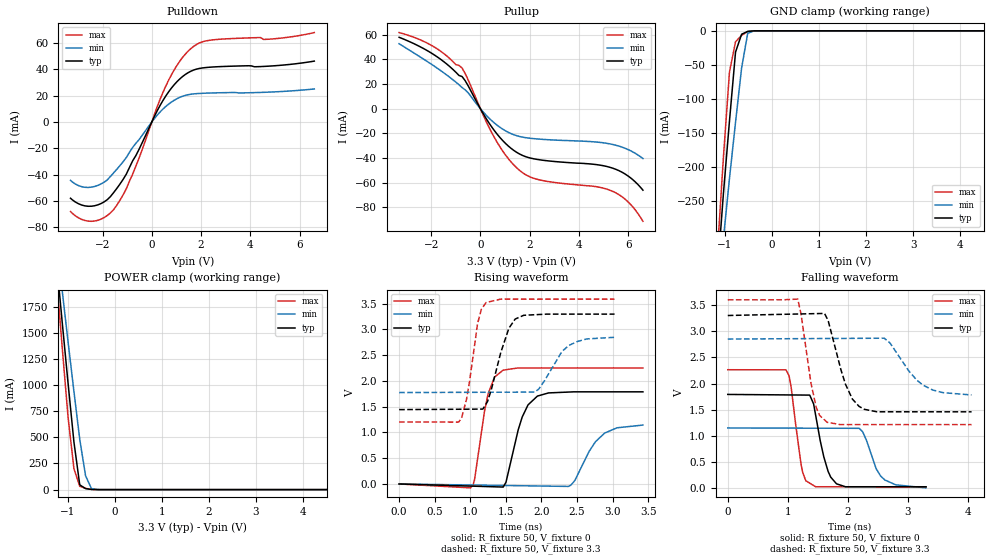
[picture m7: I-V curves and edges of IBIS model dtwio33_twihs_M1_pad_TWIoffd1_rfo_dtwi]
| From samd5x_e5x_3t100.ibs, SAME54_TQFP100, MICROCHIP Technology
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|   MODEL : dtwio33_twihs_M1_pad_TWIoffd1_rfo_dtwi
[Model] dtwio33_twihs_M1_pad_TWIoffd1_rfo_dtwi
Model_type I/O
Vinl  =  1.08
Vinh  =  2.52
Vmeas =  1.800
Vref  =  1.800
Rref  =  0
| Capacitance   typ   min   max
C_comp   2.784873902828523e-12   2.747149697823698e-12   2.829214035416891e-12
[Model Spec]
| Subparameter   typ   min   max
Vinl   0.99   0.855   1.08
Vinh   2.31   1.995   2.52
Vmeas   1.65   1.425   1.8
Vref   1.65   1.425   1.8
| Variables   typ   min   max
[GND Clamp Reference]   0   0   0
[POWER Clamp Reference]   3.3   2.85   3.6
[Pulldown Reference]   0   0   0
[Pullup Reference]   3.3   2.85   3.6
[Temperature Range]   25   125   -40
[Voltage Range]   3.3   2.85   3.6
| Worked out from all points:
|   slope of the pulldown table from 0 to 0.495 V, typ, clamps not added: 28.2 ohm
|   slope of the pullup table from 0 to 0.495 V, typ, clamps not added: 31.4 ohm
|   GND clamp passes 1 mA (typ) near -0.52 V on its own axis
|   POWER clamp passes 1 mA (typ) near -0.45 V on its own axis
|   falling waveform, R_fixture 50, V_fixture 0: 20-80 % time 199ps typ, 237ps min, 150ps max; typ from 1.79 V to 0.028 V
|   falling waveform, R_fixture 50, V_fixture 3.3: 20-80 % time 292ps typ, 441ps min, 200ps max; typ from 3.3 V to 1.46 V
|   rising waveform, R_fixture 50, V_fixture 0: 20-80 % time 219ps typ, 306ps min, 166ps max; typ from 0 V to 1.79 V
|   rising waveform, R_fixture 50, V_fixture 3.3: 20-80 % time 227ps typ, 303ps min, 151ps max; typ from 1.44 V to 3.3 V
[GND Clamp]
| Voltage   I(typ)   I(min)   I(max)
-3.3V     -2.811A    -2.445A    -3.176A
-1.164V   -360.2mA   -405.6mA   -328.3mA
-1.034V   -240.3mA   -306.5mA   -187.3mA
-905.2mV  -133.1mA   -217.4mA   -60.91mA
-775.9mV  -31.3mA    -134.4mA   -16.16mA
-646.6mV  -5.011mA   -54.58mA   -6.682mA
-517.2mV  -877.7uA   -3.713mA   -1.027mA
-387.9mV  -28.27uA   -139.7uA   -15.46uA
-258.6mV  -322.1nA   -3.949uA   -86.04nA
6.6V      0A         0A         0A
[POWER Clamp]
| Voltage   I(typ)   I(min)   I(max)
-3.3V     12.4A      10.96A     13.78A
-1.241V   2.197A     2.4A       2.047A
-1.117V   1.601A     1.903A     1.361A
-993.1mV  1.019A     1.416A     693.9mA
-869mV    458.6mA    942.1mA    202.4mA
-744.8mV  45.82mA    481.5mA    31.67mA
-620.7mV  9.704mA    132.6mA    12mA
-496.6mV  1.64mA     10.16mA    2.55mA
-372.4mV  58.76uA    488.7uA    132.1uA
6.6V      0A         0A         0A
[Pulldown]
| Voltage   I(typ)   I(min)   I(max)
-3.3V     -57.9mA    -44.32mA   -68.01mA
-2.457V   -63.99mA   -49.51mA   -75.44mA
-1.94V    -60.73mA   -45.8mA    -72.67mA
-1.552V   -53.69mA   -38.71mA   -66.65mA
-775.9mV  -29.49mA   -19.29mA   -39.56mA
227.6mV   8.78mA     5.36mA     11.99mA
682.8mV   22.9mA     13.59mA    31.75mA
1.138V    32.75mA    18.75mA    46.25mA
1.707V    39.54mA    21.39mA    57.55mA
2.503V    41.83mA    22.11mA    62.47mA
4.79V     42.5mA     22.74mA    62.97mA
6.6V      46.28mA    25.11mA    67.97mA
[Pullup]
| Voltage   I(typ)   I(min)   I(max)
-3.3V     57.95mA    52.72mA    61.79mA
-1.986V   45.08mA    36.04mA    51.38mA
-744.8mV  26.11mA    17.19mA    33.05mA
113.8mV   -3.999mA   -2.656mA   -5.168mA
569mV     -17.82mA   -11.63mA   -23.43mA
1.024V    -28.27mA   -18.02mA   -37.7mA
1.593V    -36.8mA    -22.56mA   -50.11mA
2.39V     -41.42mA   -24.68mA   -57.71mA
4.722V    -45.41mA   -27.08mA   -63.34mA
5.369V    -48.24mA   -29.01mA   -67.05mA
6.016V    -54.87mA   -33.33mA   -75.96mA
6.6V      -66.14mA   -40.41mA   -91.38mA
[Ramp]
dV/dt_r   1.07514/0.219711n  0.690632/0.309737n  1.35815/0.168023n
dV/dt_f   1.11378/0.295995n  0.64508/0.445738n  1.43785/0.201052n
R_load = 50
[Falling Waveform]
R_fixture = 50
V_fixture = 0
V_fixture_min = 0
V_fixture_max = 0
| Time   V(typ)   V(min)   V(max)
0s        1.792V     1.151V     2.264V
967.9ps   1.783V     1.148V     2.262V
1.055ns   1.782V     1.148V     1.931V
1.25ns    1.78V      1.147V     291.5mV
1.462ns   1.399V     1.147V     27.91mV
1.669ns   324.9mV    1.146V     27.89mV
1.81ns    84.11mV    1.146V     27.88mV
2.245ns   27.71mV    1.078V     27.85mV
2.616ns   27.68mV    155.9mV    27.82mV
3.299ns   27.63mV    6.772mV    27.77mV
[Falling Waveform]
R_fixture = 50
V_fixture = 3.3
V_fixture_min = 2.85
V_fixture_max = 3.6
| Time   V(typ)   V(min)   V(max)
0s        3.3V       2.85V      3.6V
1.166ns   3.329V     2.857V     3.613V
1.385ns   3.334V     2.859V     2.001V
1.473ns   3.336V     2.859V     1.543V
1.655ns   3.24V      2.86V      1.259V
1.958ns   1.99V      2.862V     1.216V
2.187ns   1.562V     2.864V     1.216V
2.604ns   1.46V      2.866V     1.216V
3.25ns    1.46V      1.97V      1.216V
4.057ns   1.46V      1.782V     1.216V
[Rising Waveform]
R_fixture = 50
V_fixture = 0
V_fixture_min = 0
V_fixture_max = 0
| Time   V(typ)   V(min)   V(max)
0s        32.13nV    116.7nV    75.97nV
1.004ns   -41.22mV   -20.09mV   -75.51mV
1.06ns    -43.5mV    -21.2mV    79.34mV
1.252ns   -51.38mV   -25.04mV   1.756V
1.461ns   -59.97mV   -29.22mV   2.21V
1.73ns    1.298V     -34.6mV    2.253V
1.944ns   1.707V     -38.89mV   2.253V
2.382ns   1.784V     -47.65mV   2.253V
2.889ns   1.789V     988.3mV    2.253V
3.427ns   1.789V     1.144V     2.253V
[Rising Waveform]
R_fixture = 50
V_fixture = 3.3
V_fixture_min = 2.85
V_fixture_max = 3.6
| Time   V(typ)   V(min)   V(max)
0s        1.444V     1.775V     1.204V
837.2ps   1.451V     1.779V     1.201V
947ps     1.452V     1.779V     1.644V
1.103ns   1.453V     1.78V      3.114V
1.222ns   1.554V     1.78V      3.522V
1.543ns   3.023V     1.782V     3.589V
1.631ns   3.202V     1.782V     3.589V
1.964ns   3.29V      1.845V     3.589V
2.389ns   3.298V     2.691V     3.589V
3.028ns   3.298V     2.847V     3.589V
